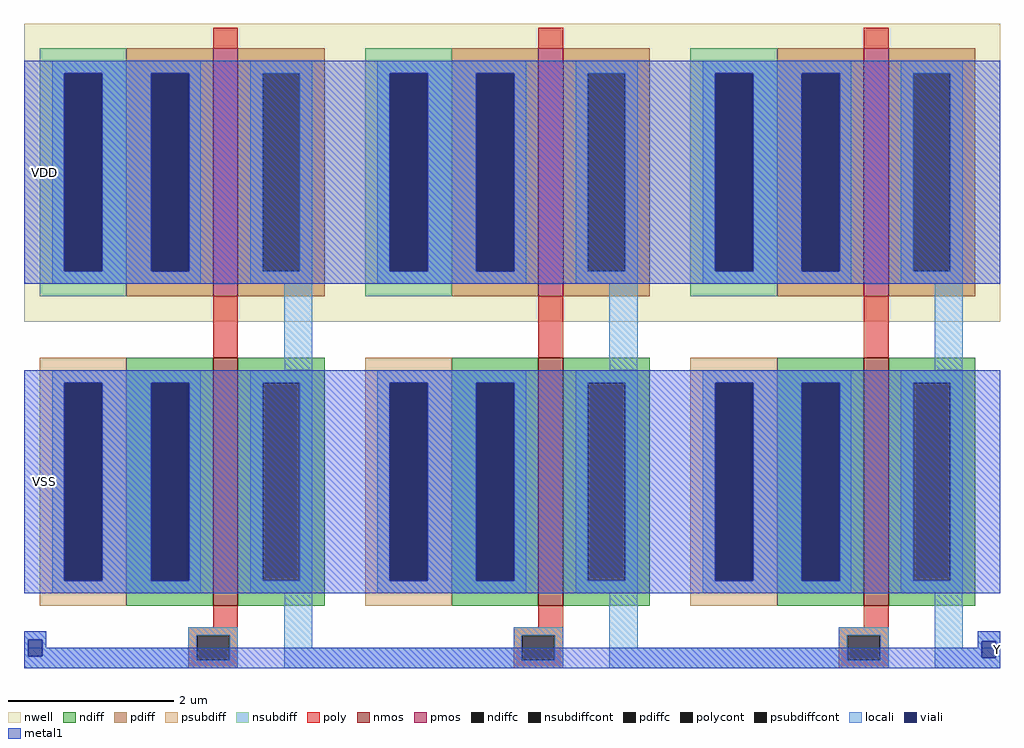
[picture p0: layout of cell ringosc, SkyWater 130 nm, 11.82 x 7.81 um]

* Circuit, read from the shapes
.subckt ringosc VDD VSS Y
XM1 inv_1_1/A Y VSS VSS sky130_fd_pr__nfet_01v8 w=3 l=0.3
XM2 inv_1_2/A inv_1_1/A VSS VSS sky130_fd_pr__nfet_01v8 w=3 l=0.3
XM3 Y inv_1_2/A VSS VSS sky130_fd_pr__nfet_01v8 w=3 l=0.3
XM4 inv_1_1/A Y VDD VDD sky130_fd_pr__pfet_01v8 w=3 l=0.3
XM5 inv_1_2/A inv_1_1/A VDD VDD sky130_fd_pr__pfet_01v8 w=3 l=0.3
XM6 Y inv_1_2/A VDD VDD sky130_fd_pr__pfet_01v8 w=3 l=0.3
.ends

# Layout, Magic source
magic
tech sky130A
<< locali >>
rect 0 35 27 45
rect 0 15 5 35
rect 22 15 27 35
rect 1155 33 1182 45
rect 1155 25 1160 33
rect 0 0 27 15
rect 1177 25 1182 33
rect 1177 13 1180 25
<< viali >>
rect 5 15 22 35
rect 1160 13 1177 33
<< metal1 >>
rect 0 35 27 45
rect 0 15 5 35
rect 22 25 27 35
rect 1155 33 1182 45
rect 1155 25 1160 33
rect 22 15 1160 25
rect 0 13 1160 15
rect 1177 13 1182 33
rect 0 0 1182 13
use inv_1  inv_1_2
transform 1 0 1017 0 1 76
box -229 -76 165 705
use inv_1  inv_1_1
transform 1 0 623 0 1 76
box -229 -76 165 705
use inv_1  inv_1_0
transform 1 0 229 0 1 76
box -229 -76 165 705
<< labels >>
rlabel metal1 1177 0 1182 45 3 Y
port 3 e
rlabel space 0 91 49 361 7 VSS
port 2 w
rlabel space 0 466 49 736 7 VDD
port 1 w
<< end >>

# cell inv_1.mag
magic
tech sky130A
<< nwell >>
rect -229 344 165 705
<< nmos >>
rect 0 0 30 300
<< pmos >>
rect 0 375 30 675
<< ndiff >>
rect -105 270 0 300
rect -105 30 -75 270
rect -30 30 0 270
rect -105 0 0 30
rect 30 270 135 300
rect 30 30 60 270
rect 105 30 135 270
rect 30 0 135 30
<< pdiff >>
rect -105 645 0 675
rect -105 405 -75 645
rect -30 405 0 645
rect -105 375 0 405
rect 30 645 135 675
rect 30 405 60 645
rect 105 405 135 645
rect 30 375 135 405
<< ndiffc >>
rect -75 30 -30 270
rect 60 30 105 270
<< pdiffc >>
rect -75 405 -30 645
rect 60 405 105 645
<< psubdiff >>
rect -210 270 -105 300
rect -210 30 -180 270
rect -135 30 -105 270
rect -210 0 -105 30
<< nsubdiff >>
rect -210 645 -105 675
rect -210 405 -180 645
rect -135 405 -105 645
rect -210 375 -105 405
<< psubdiffcont >>
rect -180 30 -135 270
<< nsubdiffcont >>
rect -180 405 -135 645
<< poly >>
rect 0 675 30 700
rect 0 300 30 375
rect 0 -26 30 0
rect -30 -36 30 -26
rect -30 -66 -20 -36
rect 20 -66 30 -36
rect -30 -76 30 -66
<< polycont >>
rect -20 -66 20 -36
<< locali >>
rect -195 645 -15 660
rect -195 405 -180 645
rect -134 405 -75 645
rect -29 405 -15 645
rect -195 390 -15 405
rect 45 645 120 660
rect 45 405 60 645
rect 105 405 120 645
rect 45 390 120 405
rect 86 285 120 390
rect -195 270 -15 285
rect -195 30 -180 270
rect -134 30 -75 270
rect -29 30 -15 270
rect -195 15 -15 30
rect 45 270 120 285
rect 45 30 60 270
rect 105 30 120 270
rect 45 15 120 30
rect -30 -36 30 -26
rect -30 -51 -20 -36
rect -229 -66 -20 -51
rect 20 -66 30 -36
rect -229 -76 30 -66
rect 86 -51 120 15
rect 86 -76 165 -51
<< viali >>
rect -180 405 -135 645
rect -135 405 -134 645
rect -75 405 -30 645
rect -30 405 -29 645
rect -180 30 -135 270
rect -135 30 -134 270
rect -75 30 -30 270
rect -30 30 -29 270
<< metal1 >>
rect -229 645 165 660
rect -229 405 -180 645
rect -134 405 -75 645
rect -29 405 165 645
rect -229 390 165 405
rect -229 270 165 285
rect -229 30 -180 270
rect -134 30 -75 270
rect -29 30 165 270
rect -229 15 165 30
<< labels >>
rlabel locali -229 -63 -229 -63 7 A
port 1 w
rlabel locali 165 -57 165 -57 3 Y
port 2 e
rlabel metal1 -229 526 -229 526 7 VDD
port 3 w
rlabel metal1 -229 154 -229 154 7 VSS
port 4 w
<< end >>
